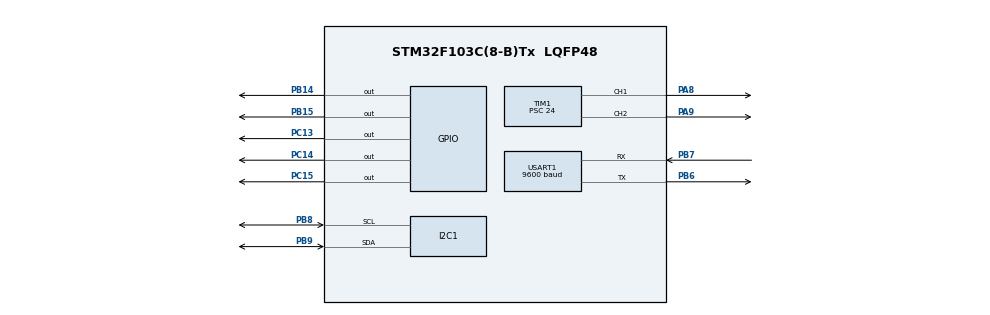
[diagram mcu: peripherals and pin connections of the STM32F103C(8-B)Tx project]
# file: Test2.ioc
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I2C1.I2C_Mode=I2C_Fast
Mcu.Family=STM32F1
Mcu.Name=STM32F103C(8-B)Tx
Mcu.Package=LQFP48
NVIC.PriorityGroup=NVIC_PRIORITYGROUP_4
NVIC.USART1_IRQn=true\:0\:0\:false\:false\:true\:true\:true
PA8.Signal=S_TIM1_CH1
PA9.Signal=S_TIM1_CH2
PB14.Signal=GPIO_Output
PB15.Signal=GPIO_Output
PB6.Mode=Asynchronous
PB6.Signal=USART1_TX
PB7.Mode=Asynchronous
PB7.Signal=USART1_RX
PB8.Mode=I2C
PB8.Signal=I2C1_SCL
PB9.Mode=I2C
PB9.Signal=I2C1_SDA
PC13-TAMPER-RTC.Signal=GPIO_Output
PC14-OSC32_IN.Signal=GPIO_Output
PC15-OSC32_OUT.Signal=GPIO_Output
ProjectManager.HeapSize=0x200
ProjectManager.StackSize=0x400
ProjectManager.TargetToolchain=MDK-ARM V5
RCC.APB1Freq_Value=8000000
RCC.APB2Freq_Value=8000000
SH.S_TIM1_CH1.0=TIM1_CH1,Output Compare1 CH1
SH.S_TIM1_CH2.0=TIM1_CH2,Output Compare2 CH2
TIM1.Channel-Output\ Compare1\ CH1=TIM_CHANNEL_1
TIM1.Channel-Output\ Compare2\ CH2=TIM_CHANNEL_2
TIM1.Period=255
TIM1.Prescaler=24
USART1.BaudRate=9600
USART1.VirtualMode=VM_ASYNC
VP_SYS_VS_ND.Mode=No_Debug
VP_TIM1_VS_ClockSourceINT.Mode=Internal
board=custom

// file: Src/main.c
/* USER CODE BEGIN Header */
/**
  ******************************************************************************
  * @file           : main.c
  * @brief          : Main program body
  ******************************************************************************
  * @attention
  *
  * <h2><center>&copy; Copyright (c) 2019 STMicroelectronics.
  * All rights reserved.</center></h2>
  *
  * This software component is licensed by ST under BSD 3-Clause license,
  * the "License"; You may not use this file except in compliance with the
  * License. You may obtain a copy of the License at:
  *                        opensource.org/licenses/BSD-3-Clause
  *
  ******************************************************************************
  */
/* USER CODE END Header */

#include "main.h"

/* USER CODE BEGIN Includes */
#include "ssd1306.h"
#include "fonts.h"

/* USER CODE END Includes */

/* USER CODE BEGIN PTD */
uint8_t rec[];
/* USER CODE END PTD */

I2C_HandleTypeDef hi2c1;

TIM_HandleTypeDef htim1;

UART_HandleTypeDef huart1;

void SystemClock_Config(void);
static void MX_GPIO_Init(void);
static void MX_USART1_UART_Init(void);
static void MX_I2C1_Init(void);
static void MX_TIM1_Init(void);
/* USER CODE BEGIN PFP */
void OCR_set(TIM_HandleTypeDef *htim, uint32_t channel,int value);
/* USER CODE END PFP */

/* USER CODE BEGIN 0 */
	uint8_t data[]="hello";

/* USER CODE END 0 */

int main(void)
{

  /* MCU Configuration--------------------------------------------------------*/

  /* Reset of all peripherals, Initializes the Flash interface and the Systick. */
  HAL_Init();

  /* Configure the system clock */
  SystemClock_Config();

  /* Initialize all configured peripherals */
  MX_GPIO_Init();
  MX_USART1_UART_Init();
  MX_I2C1_Init();
  MX_TIM1_Init();
  /* USER CODE BEGIN 2 */
	int v=255;
	SSD1306_Init();
	__HAL_UART_ENABLE_IT(&huart1, UART_IT_RXNE);
  /* USER CODE END 2 */

  /* Infinite loop */
  while (1)
  {

    /* USER CODE BEGIN 3 */
		if(rec[0] == 'N')
		{
			HAL_GPIO_WritePin(GPIOB,GPIO_PIN_14,1);
			OCR_set(&htim1,TIM_CHANNEL_1,0);
			HAL_GPIO_WritePin(GPIOB,GPIO_PIN_15,1);
			OCR_set(&htim1,TIM_CHANNEL_2,0);
			SSD1306_Fill(SSD1306_COLOR_BLACK);
			SSD1306_DrawLine(60,20,60,50,SSD1306_COLOR_WHITE);
			SSD1306_DrawLine(60,20,60,50,SSD1306_COLOR_WHITE);
		}
		else if(rec[0] == 'S')
		{
			HAL_GPIO_WritePin(GPIOB,GPIO_PIN_14,0);
			OCR_set(&htim1,TIM_CHANNEL_1,v);
			HAL_GPIO_WritePin(GPIOB,GPIO_PIN_15,0);
			OCR_set(&htim1,TIM_CHANNEL_2,v);
			SSD1306_Fill(SSD1306_COLOR_BLACK);
			SSD1306_DrawLine(60,20,60,50,SSD1306_COLOR_WHITE);
		}
		else if(rec[0] == 'E')
		{
			HAL_GPIO_WritePin(GPIOB,GPIO_PIN_14,1);
			OCR_set(&htim1,TIM_CHANNEL_1,0);
			HAL_GPIO_WritePin(GPIOB,GPIO_PIN_15,0);
			OCR_set(&htim1,TIM_CHANNEL_2,v);
			SSD1306_Fill(SSD1306_COLOR_BLACK);
			SSD1306_DrawLine(50,35,80,35,SSD1306_COLOR_WHITE);
		}
		else if(rec[0] == 'W')
		{
			HAL_GPIO_WritePin(GPIOB,GPIO_PIN_14,0);
			OCR_set(&htim1,TIM_CHANNEL_1,v);
			HAL_GPIO_WritePin(GPIOB,GPIO_PIN_15,1);
			OCR_set(&htim1,TIM_CHANNEL_2,0);
			SSD1306_Fill(SSD1306_COLOR_BLACK);
			SSD1306_DrawLine(50,35,80,35,SSD1306_COLOR_WHITE);
		}
		else if(rec[0] == 'a')
		{
			HAL_GPIO_WritePin(GPIOB,GPIO_PIN_14,0);
			OCR_set(&htim1,TIM_CHANNEL_1,0);
			HAL_GPIO_WritePin(GPIOB,GPIO_PIN_15,1);
			OCR_set(&htim1,TIM_CHANNEL_2,0);
		}
		else if(rec[0] == 'b')
		{
			HAL_GPIO_WritePin(GPIOB,GPIO_PIN_14,1);
			OCR_set(&htim1,TIM_CHANNEL_1,0);
			HAL_GPIO_WritePin(GPIOB,GPIO_PIN_15,0);
			OCR_set(&htim1,TIM_CHANNEL_2,0);
		}
		else if(rec[0] == 'd')
		{
			HAL_GPIO_WritePin(GPIOB,GPIO_PIN_14,0);
			OCR_set(&htim1,TIM_CHANNEL_1,v);
			HAL_GPIO_WritePin(GPIOB,GPIO_PIN_15,0);
			OCR_set(&htim1,TIM_CHANNEL_2,0);
		}
		else if(rec[0] == 'c')
		{
			HAL_GPIO_WritePin(GPIOB,GPIO_PIN_14,0);
			OCR_set(&htim1,TIM_CHANNEL_1,0);
			HAL_GPIO_WritePin(GPIOB,GPIO_PIN_15,0);
			OCR_set(&htim1,TIM_CHANNEL_2,v);
		}
		else if(rec[0] == 'O')
		{
			HAL_GPIO_WritePin(GPIOB,GPIO_PIN_14,0);
			OCR_set(&htim1,TIM_CHANNEL_1,0);
			HAL_GPIO_WritePin(GPIOB,GPIO_PIN_15,0);
			OCR_set(&htim1,TIM_CHANNEL_2,0);
		}
		else
		{
			HAL_GPIO_WritePin(GPIOB,GPIO_PIN_14,0);
			OCR_set(&htim1,TIM_CHANNEL_1,0);
			HAL_GPIO_WritePin(GPIOB,GPIO_PIN_15,0);
			OCR_set(&htim1,TIM_CHANNEL_2,0);
		}
		SSD1306_UpdateScreen();
		HAL_Delay(100);
  }
  /* USER CODE END 3 */
}

void SystemClock_Config(void)
{
  RCC_OscInitTypeDef RCC_OscInitStruct = {0};
  RCC_ClkInitTypeDef RCC_ClkInitStruct = {0};

  /** Initializes the CPU, AHB and APB busses clocks
  */
  RCC_OscInitStruct.OscillatorType = RCC_OSCILLATORTYPE_HSI;
  RCC_OscInitStruct.HSIState = RCC_HSI_ON;
  RCC_OscInitStruct.HSICalibrationValue = RCC_HSICALIBRATION_DEFAULT;
  RCC_OscInitStruct.PLL.PLLState = RCC_PLL_NONE;
  if (HAL_RCC_OscConfig(&RCC_OscInitStruct) != HAL_OK)
  {
    Error_Handler();
  }
  /** Initializes the CPU, AHB and APB busses clocks
  */
  RCC_ClkInitStruct.ClockType = RCC_CLOCKTYPE_HCLK|RCC_CLOCKTYPE_SYSCLK
                              |RCC_CLOCKTYPE_PCLK1|RCC_CLOCKTYPE_PCLK2;
  RCC_ClkInitStruct.SYSCLKSource = RCC_SYSCLKSOURCE_HSI;
  RCC_ClkInitStruct.AHBCLKDivider = RCC_SYSCLK_DIV1;
  RCC_ClkInitStruct.APB1CLKDivider = RCC_HCLK_DIV1;
  RCC_ClkInitStruct.APB2CLKDivider = RCC_HCLK_DIV1;

  if (HAL_RCC_ClockConfig(&RCC_ClkInitStruct, FLASH_LATENCY_0) != HAL_OK)
  {
    Error_Handler();
  }
}

static void MX_I2C1_Init(void)
{

  hi2c1.Instance = I2C1;
  hi2c1.Init.ClockSpeed = 400000;
  hi2c1.Init.DutyCycle = I2C_DUTYCYCLE_2;
  hi2c1.Init.OwnAddress1 = 0;
  hi2c1.Init.AddressingMode = I2C_ADDRESSINGMODE_7BIT;
  hi2c1.Init.DualAddressMode = I2C_DUALADDRESS_DISABLE;
  hi2c1.Init.OwnAddress2 = 0;
  hi2c1.Init.GeneralCallMode = I2C_GENERALCALL_DISABLE;
  hi2c1.Init.NoStretchMode = I2C_NOSTRETCH_DISABLE;
  if (HAL_I2C_Init(&hi2c1) != HAL_OK)
  {
    Error_Handler();
  }

}

static void MX_TIM1_Init(void)
{

  TIM_ClockConfigTypeDef sClockSourceConfig = {0};
  TIM_MasterConfigTypeDef sMasterConfig = {0};
  TIM_OC_InitTypeDef sConfigOC = {0};
  TIM_BreakDeadTimeConfigTypeDef sBreakDeadTimeConfig = {0};

  htim1.Instance = TIM1;
  htim1.Init.Prescaler = 24;
  htim1.Init.CounterMode = TIM_COUNTERMODE_UP;
  htim1.Init.Period = 255;
  htim1.Init.ClockDivision = TIM_CLOCKDIVISION_DIV1;
  htim1.Init.RepetitionCounter = 0;
  htim1.Init.AutoReloadPreload = TIM_AUTORELOAD_PRELOAD_DISABLE;
  if (HAL_TIM_Base_Init(&htim1) != HAL_OK)
  {
    Error_Handler();
  }
  sClockSourceConfig.ClockSource = TIM_CLOCKSOURCE_INTERNAL;
  if (HAL_TIM_ConfigClockSource(&htim1, &sClockSourceConfig) != HAL_OK)
  {
    Error_Handler();
  }
  if (HAL_TIM_OC_Init(&htim1) != HAL_OK)
  {
    Error_Handler();
  }
  sMasterConfig.MasterOutputTrigger = TIM_TRGO_RESET;
  sMasterConfig.MasterSlaveMode = TIM_MASTERSLAVEMODE_DISABLE;
  if (HAL_TIMEx_MasterConfigSynchronization(&htim1, &sMasterConfig) != HAL_OK)
  {
    Error_Handler();
  }
  sConfigOC.OCMode = TIM_OCMODE_TIMING;
  sConfigOC.Pulse = 0;
  sConfigOC.OCPolarity = TIM_OCPOLARITY_HIGH;
  sConfigOC.OCNPolarity = TIM_OCNPOLARITY_HIGH;
  sConfigOC.OCFastMode = TIM_OCFAST_DISABLE;
  sConfigOC.OCIdleState = TIM_OCIDLESTATE_RESET;
  sConfigOC.OCNIdleState = TIM_OCNIDLESTATE_RESET;
  if (HAL_TIM_OC_ConfigChannel(&htim1, &sConfigOC, TIM_CHANNEL_1) != HAL_OK)
  {
    Error_Handler();
  }
  if (HAL_TIM_OC_ConfigChannel(&htim1, &sConfigOC, TIM_CHANNEL_2) != HAL_OK)
  {
    Error_Handler();
  }
  sBreakDeadTimeConfig.OffStateRunMode = TIM_OSSR_DISABLE;
  sBreakDeadTimeConfig.OffStateIDLEMode = TIM_OSSI_DISABLE;
  sBreakDeadTimeConfig.LockLevel = TIM_LOCKLEVEL_OFF;
  sBreakDeadTimeConfig.DeadTime = 0;
  sBreakDeadTimeConfig.BreakState = TIM_BREAK_DISABLE;
  sBreakDeadTimeConfig.BreakPolarity = TIM_BREAKPOLARITY_HIGH;
  sBreakDeadTimeConfig.AutomaticOutput = TIM_AUTOMATICOUTPUT_DISABLE;
  if (HAL_TIMEx_ConfigBreakDeadTime(&htim1, &sBreakDeadTimeConfig) != HAL_OK)
  {
    Error_Handler();
  }
  HAL_TIM_MspPostInit(&htim1);

}

static void MX_USART1_UART_Init(void)
{

  huart1.Instance = USART1;
  huart1.Init.BaudRate = 9600;
  huart1.Init.WordLength = UART_WORDLENGTH_8B;
  huart1.Init.StopBits = UART_STOPBITS_1;
  huart1.Init.Parity = UART_PARITY_NONE;
  huart1.Init.Mode = UART_MODE_TX_RX;
  huart1.Init.HwFlowCtl = UART_HWCONTROL_NONE;
  huart1.Init.OverSampling = UART_OVERSAMPLING_16;
  if (HAL_UART_Init(&huart1) != HAL_OK)
  {
    Error_Handler();
  }

}

static void MX_GPIO_Init(void)
{
  GPIO_InitTypeDef GPIO_InitStruct = {0};

  /* GPIO Ports Clock Enable */
  __HAL_RCC_GPIOC_CLK_ENABLE();
  __HAL_RCC_GPIOB_CLK_ENABLE();
  __HAL_RCC_GPIOA_CLK_ENABLE();

  /*Configure GPIO pin Output Level */
  HAL_GPIO_WritePin(GPIOC, GPIO_PIN_13|GPIO_PIN_14|GPIO_PIN_15, GPIO_PIN_RESET);

  /*Configure GPIO pin Output Level */
  HAL_GPIO_WritePin(GPIOB, GPIO_PIN_14|GPIO_PIN_15, GPIO_PIN_RESET);

  /*Configure GPIO pins : PC13 PC14 PC15 */
  GPIO_InitStruct.Pin = GPIO_PIN_13|GPIO_PIN_14|GPIO_PIN_15;
  GPIO_InitStruct.Mode = GPIO_MODE_OUTPUT_PP;
  GPIO_InitStruct.Pull = GPIO_NOPULL;
  GPIO_InitStruct.Speed = GPIO_SPEED_FREQ_LOW;
  HAL_GPIO_Init(GPIOC, &GPIO_InitStruct);

  /*Configure GPIO pins : PB14 PB15 */
  GPIO_InitStruct.Pin = GPIO_PIN_14|GPIO_PIN_15;
  GPIO_InitStruct.Mode = GPIO_MODE_OUTPUT_PP;
  GPIO_InitStruct.Pull = GPIO_NOPULL;
  GPIO_InitStruct.Speed = GPIO_SPEED_FREQ_LOW;
  HAL_GPIO_Init(GPIOB, &GPIO_InitStruct);

}

/* USER CODE BEGIN 4 */

void OCR_set(TIM_HandleTypeDef *htim, uint32_t channel,int value)
{
	TIM_OC_InitTypeDef sConfigOC;

	sConfigOC.OCMode = TIM_OCMODE_PWM1;
	sConfigOC.Pulse = value;
	sConfigOC.OCPolarity = TIM_OCPOLARITY_HIGH;
	sConfigOC.OCNPolarity = TIM_OCNPOLARITY_HIGH;
	sConfigOC.OCFastMode = TIM_OCFAST_DISABLE;
	sConfigOC.OCIdleState = TIM_OCIDLESTATE_RESET;
	sConfigOC.OCNIdleState = TIM_OCNIDLESTATE_RESET;

	HAL_TIM_PWM_ConfigChannel(htim, &sConfigOC, channel);
	HAL_TIM_PWM_Start(htim,channel);
}

/* USER CODE END 4 */

void Error_Handler(void)
{
}

/************************ (C) COPYRIGHT STMicroelectronics *****END OF FILE****/
